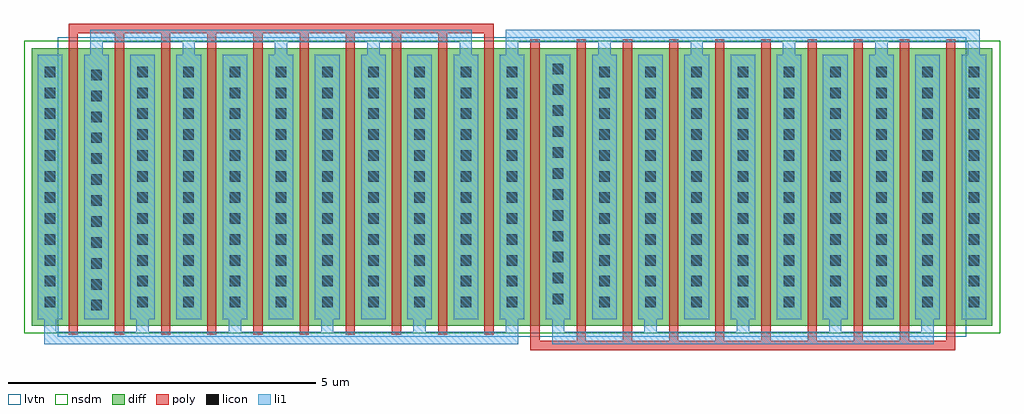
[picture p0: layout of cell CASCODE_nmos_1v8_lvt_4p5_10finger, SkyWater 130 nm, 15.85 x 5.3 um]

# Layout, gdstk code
import gdstk
lib = gdstk.Library(unit=1e-6, precision=1e-09)
def R(c, l, rs):  # rectangles x0, y0, x1, y1
    for r in rs: c.add(gdstk.rectangle(r[:2], r[2:], *l))
def A(c, l, x, y, w, h, nx, ny, dx, dy):  # array of equal rectangles
    R(c, l, [(x+i*dx, y+j*dy, x+i*dx+w, y+j*dy+h) for i in range(nx) for j in range(ny)])
diff = (65, 20)
poly = (66, 20)
licon = (66, 44)
li1 = (67, 20)
nsdm = (93, 44)
lvtn = (125, 44)

cascode_nmos_1v8_lvt_4p5 = lib.new_cell('CASCODE_nmos_1v8_lvt_4p5_10finger')
R(cascode_nmos_1v8_lvt_4p5, diff, [(-6.8,2.25,8.8,6.75)])
A(cascode_nmos_1v8_lvt_4p5, poly, 1.3, 2, 0.15, 4.9, 10, 1, 0.75, 0)
A(cascode_nmos_1v8_lvt_4p5, poly, -6.2, 2.1, 0.15, 4.9, 10, 1, 0.75, 0)
R(cascode_nmos_1v8_lvt_4p5, poly, [(1.3,1.85,8.2,2), (-6.2,7,0.7,7.15)])
A(cascode_nmos_1v8_lvt_4p5, licon, -5.835, 2.495, 0.17, 0.17, 1, 12, 0, 0.34)
A(cascode_nmos_1v8_lvt_4p5, licon, -6.585, 2.545, 0.17, 0.17, 1, 12, 0, 0.34)
A(cascode_nmos_1v8_lvt_4p5, licon, -5.085, 2.545, 0.17, 0.17, 9, 12, 0.75, 0.34)
A(cascode_nmos_1v8_lvt_4p5, licon, 2.415, 2.545, 0.17, 0.17, 9, 12, 0.75, 0.34)
A(cascode_nmos_1v8_lvt_4p5, licon, 1.665, 2.595, 0.17, 0.17, 1, 12, 0, 0.34)
A(cascode_nmos_1v8_lvt_4p5, li1, -6.6, 2.15, 0.2, 0.2, 6, 1, 1.5, 0)
A(cascode_nmos_1v8_lvt_4p5, li1, 1.65, 2.15, 0.2, 0.2, 5, 1, 1.5, 0)
A(cascode_nmos_1v8_lvt_4p5, li1, -6.7, 2.35, 0.4, 4.3, 21, 1, 0.75, 0)
A(cascode_nmos_1v8_lvt_4p5, li1, -5.85, 6.65, 0.2, 0.2, 5, 1, 1.5, 0)
A(cascode_nmos_1v8_lvt_4p5, li1, 0.9, 6.65, 0.2, 0.2, 6, 1, 1.5, 0)
R(cascode_nmos_1v8_lvt_4p5, li1, [(-6.6,1.95,1.1,2.15), (1.65,1.95,7.85,2.15), (-5.85,6.85,0.35,7.05), (0.9,6.85,8.6,7.05)])
R(cascode_nmos_1v8_lvt_4p5, nsdm, [(-6.925,2.125,8.925,6.875)])
R(cascode_nmos_1v8_lvt_4p5, lvtn, [(-6.38,2.07,8.38,6.93)])

lib.write_gds('CASCODE_nmos_1v8_lvt_4p5_10finger.gds')
